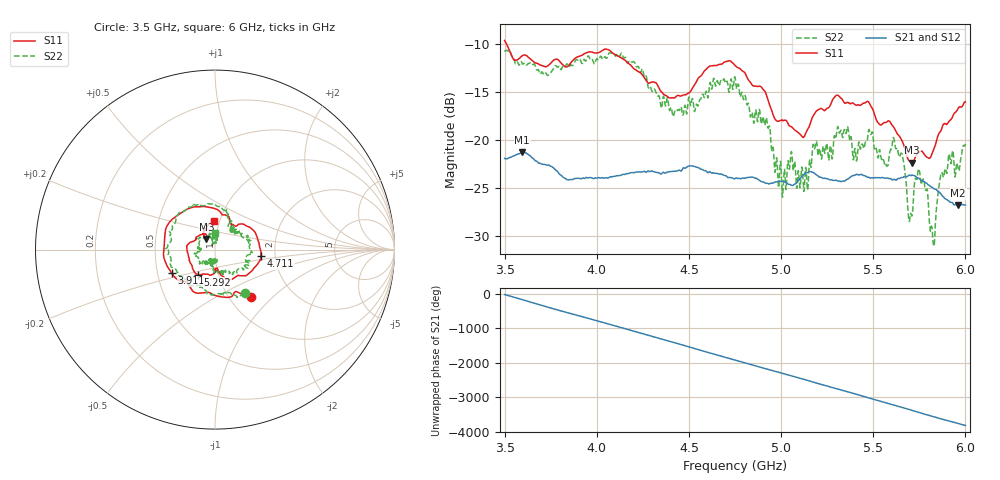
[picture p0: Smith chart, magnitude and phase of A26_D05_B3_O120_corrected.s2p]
! Created with skrf 1.9.0 (http://scikit-rf.org).
# Hz S RI R 50.0
!freq ReS11 ImS11 ReS21 ImS21 ReS12 ImS12 ReS22 ImS22
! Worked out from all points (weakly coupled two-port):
!   1601 points, 3.5 GHz to 6 GHz, reference 50 ohm
!   highest |S21| = -21.29 dB at 3.595 GHz (marker M1); lowest = -26.8 dB at 5.961 GHz (marker M2)
!   lowest |S11| = -22.4 dB at 5.711 GHz (marker M3), VSWR 1.16, Z = 45.1 + j5.38 ohm
!   |S11| at or under -10 dB: 3.511 GHz to end of sweep
!   |S22| runs from -31.1 to -10.6 dB; largest |S21 - S12| = 0.00087
!   S11 on the Smith chart (normalised r, x): 3.5 GHz: 1.26, -0.74; 3.911 GHz: 0.59, -0.17; 4.711 GHz: 1.68, -0.13; 5.292 GHz: 0.80, -0.23; 6 GHz: 0.94, +0.30
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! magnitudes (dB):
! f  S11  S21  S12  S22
! 3.5 GHz  -9.6  -21.9  -21.9  -10.6
! 3.595 GHz  -11.2  -21.3  -21.3  -12.0
! 3.911 GHz  -11.2  -24.0  -24.0  -11.6
! 3.917 GHz  -11.2  -24.0  -24.0  -12.0
! 4.141 GHz  -11.5  -23.6  -23.6  -11.2
! 4.334 GHz  -14.5  -23.4  -23.3  -15.4
! 4.711 GHz  -11.8  -23.9  -23.9  -14.2
! 4.75 GHz  -12.2  -24.0  -23.9  -13.4
! 4.928 GHz  -15.8  -24.5  -24.5  -18.7
! 5.016 GHz  -18.0  -24.3  -24.3  -23.5
! 5.134 GHz  -19.3  -23.4  -23.4  -22.9
! 5.167 GHz  -17.8  -23.4  -23.3  -21.9
! 5.292 GHz  -15.5  -24.2  -24.2  -19.6
! 5.584 GHz  -18.0  -24.0  -24.0  -22.0
! 5.656 GHz  -20.1  -23.9  -23.9  -21.5
! 5.695 GHz  -22.2  -23.7  -23.6  -28.5
! 5.711 GHz  -22.4  -23.6  -23.6  -27.8
! 5.753 GHz  -21.2  -24.1  -24.0  -23.5
! 5.823 GHz  -21.2  -25.0  -25.0  -30.5
! 5.867 GHz  -19.0  -25.6  -25.6  -23.5
! 5.961 GHz  -16.7  -26.8  -26.8  -23.0
! 6 GHz  -16.0  -26.8  -26.7  -20.4
